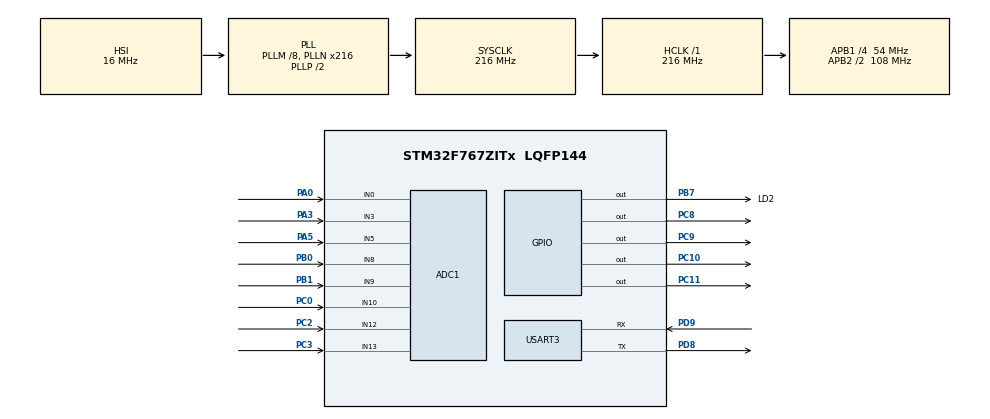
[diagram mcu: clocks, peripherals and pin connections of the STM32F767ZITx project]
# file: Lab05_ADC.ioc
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ADC1.Channel-0\#ChannelRegularConversion=ADC_CHANNEL_0
ADC1.Channel-1\#ChannelRegularConversion=ADC_CHANNEL_8
ADC1.Channel-2\#ChannelRegularConversion=ADC_CHANNEL_10
ADC1.Channel-3\#ChannelRegularConversion=ADC_CHANNEL_13
ADC1.Channel-4\#ChannelRegularConversion=ADC_CHANNEL_3
ADC1.Channel-5\#ChannelRegularConversion=ADC_CHANNEL_5
ADC1.Channel-6\#ChannelRegularConversion=ADC_CHANNEL_9
ADC1.Channel-7\#ChannelRegularConversion=ADC_CHANNEL_12
ADC1.ClockPrescaler=ADC_CLOCK_SYNC_PCLK_DIV8
ADC1.ContinuousConvMode=ENABLE
ADC1.DMAContinuousRequests=ENABLE
ADC1.InjNumberOfConversion=0
ADC1.NbrOfConversion=8
ADC1.NbrOfConversionFlag=1
ADC1.Rank-0\#ChannelRegularConversion=1
ADC1.Rank-1\#ChannelRegularConversion=2
ADC1.Rank-2\#ChannelRegularConversion=3
ADC1.Rank-3\#ChannelRegularConversion=4
ADC1.Rank-4\#ChannelRegularConversion=5
ADC1.Rank-5\#ChannelRegularConversion=6
ADC1.Rank-6\#ChannelRegularConversion=7
ADC1.Rank-7\#ChannelRegularConversion=8
ADC1.SamplingTime-0\#ChannelRegularConversion=ADC_SAMPLETIME_480CYCLES
ADC1.SamplingTime-1\#ChannelRegularConversion=ADC_SAMPLETIME_480CYCLES
ADC1.SamplingTime-2\#ChannelRegularConversion=ADC_SAMPLETIME_480CYCLES
ADC1.SamplingTime-3\#ChannelRegularConversion=ADC_SAMPLETIME_480CYCLES
ADC1.SamplingTime-4\#ChannelRegularConversion=ADC_SAMPLETIME_480CYCLES
ADC1.SamplingTime-5\#ChannelRegularConversion=ADC_SAMPLETIME_480CYCLES
ADC1.SamplingTime-6\#ChannelRegularConversion=ADC_SAMPLETIME_480CYCLES
ADC1.SamplingTime-7\#ChannelRegularConversion=ADC_SAMPLETIME_480CYCLES
ADC1.ScanConvMode=ADC_SCAN_ENABLE
ADC1.master=1
Dma.ADC1.0.Direction=DMA_PERIPH_TO_MEMORY
Dma.ADC1.0.FIFOMode=DMA_FIFOMODE_DISABLE
Dma.ADC1.0.Instance=DMA2_Stream0
Dma.ADC1.0.MemDataAlignment=DMA_MDATAALIGN_WORD
Dma.ADC1.0.MemInc=DMA_MINC_ENABLE
Dma.ADC1.0.Mode=DMA_CIRCULAR
Dma.ADC1.0.PeriphDataAlignment=DMA_PDATAALIGN_WORD
Dma.ADC1.0.PeriphInc=DMA_PINC_DISABLE
Dma.ADC1.0.Priority=DMA_PRIORITY_LOW
Dma.Request0=ADC1
Mcu.Family=STM32F7
Mcu.Name=STM32F767ZITx
Mcu.Package=LQFP144
NVIC.DMA2_Stream0_IRQn=true\:2\:0\:true\:false\:true\:false\:true
NVIC.PriorityGroup=NVIC_PRIORITYGROUP_2
PA0/WKUP.Signal=ADCx_IN0
PA3.Signal=ADCx_IN3
PA5.Signal=ADCx_IN5
PB0.Signal=ADCx_IN8
PB1.Signal=ADCx_IN9
PB7.GPIO_Label=LD2
PB7.Signal=GPIO_Output
PC0.Signal=ADCx_IN10
PC10.GPIO_ModeDefaultOutputPP=GPIO_MODE_OUTPUT_OD
PC10.PinState=GPIO_PIN_SET
PC10.Signal=GPIO_Output
PC11.GPIO_ModeDefaultOutputPP=GPIO_MODE_OUTPUT_OD
PC11.PinState=GPIO_PIN_SET
PC11.Signal=GPIO_Output
PC2.Signal=ADCx_IN12
PC3.Signal=ADCx_IN13
PC8.GPIO_ModeDefaultOutputPP=GPIO_MODE_OUTPUT_OD
PC8.PinState=GPIO_PIN_SET
PC8.Signal=GPIO_Output
PC9.GPIO_ModeDefaultOutputPP=GPIO_MODE_OUTPUT_OD
PC9.PinState=GPIO_PIN_SET
PC9.Signal=GPIO_Output
PD8.Mode=Asynchronous
PD8.Signal=USART3_TX
PD9.Mode=Asynchronous
PD9.Signal=USART3_RX
ProjectManager.HeapSize=0x200
ProjectManager.StackSize=0x400
ProjectManager.TargetToolchain=STM32CubeIDE
RCC.AHBFreq_Value=216000000
RCC.APB1CLKDivider=RCC_HCLK_DIV4
RCC.APB1Freq_Value=54000000
RCC.APB1TimFreq_Value=108000000
RCC.APB2CLKDivider=RCC_HCLK_DIV2
RCC.APB2Freq_Value=108000000
RCC.APB2TimFreq_Value=216000000
RCC.CortexFreq_Value=216000000
RCC.HCLKFreq_Value=216000000
RCC.HSE_VALUE=25000000
RCC.HSI_VALUE=16000000
RCC.LSE_VALUE=32768
RCC.PLLM=8
RCC.PLLN=216
RCC.SYSCLKFreq_VALUE=216000000
RCC.SYSCLKSource=RCC_SYSCLKSOURCE_PLLCLK
RCC.USBFreq_Value=216000000
RCC.VCOOutputFreq_Value=432000000
SH.ADCx_IN0.0=ADC1_IN0,IN0
SH.ADCx_IN10.0=ADC1_IN10,IN10
SH.ADCx_IN12.0=ADC1_IN12,IN12
SH.ADCx_IN13.0=ADC1_IN13,IN13
SH.ADCx_IN3.0=ADC1_IN3,IN3
SH.ADCx_IN5.0=ADC1_IN5,IN5
SH.ADCx_IN8.0=ADC1_IN8,IN8
SH.ADCx_IN9.0=ADC1_IN9,IN9
USART3.VirtualMode-Asynchronous=VM_ASYNC
board=custom

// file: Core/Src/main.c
/* USER CODE BEGIN Header */
/**
  ******************************************************************************
  * @file           : main.c
  * @brief          : Main program body
  ******************************************************************************
  * @attention
  *
  * <h2><center>&copy; Copyright (c) 2020 STMicroelectronics.
  * All rights reserved.</center></h2>
  *
  * This software component is licensed by ST under BSD 3-Clause license,
  * the "License"; You may not use this file except in compliance with the
  * License. You may obtain a copy of the License at:
  *                        opensource.org/licenses/BSD-3-Clause
  *
  ******************************************************************************
  */
/* USER CODE END Header */
#include "main.h"
#include "adc.h"
#include "dma.h"
#include "usart.h"
#include "gpio.h"

void SystemClock_Config(void);
/* USER CODE BEGIN PFP */
void displayHEX(uint32_t num) {
	char tmp[15];
	sprintf(tmp, "0x%08X", num);
	HAL_UART_Transmit(&huart3, (unsigned char*) tmp, 10, 100);
}
/* USER CODE END PFP */

/* USER CODE BEGIN 0 */
void HAL_ADC_ConvCpltCallback(ADC_HandleTypeDef* hadc)
{
  HAL_GPIO_WritePin(LD2_GPIO_Port, LD2_Pin, GPIO_PIN_RESET);
}

void HAL_ADC_ConvHalfCpltCallback(ADC_HandleTypeDef* hadc)
{
  HAL_GPIO_WritePin(LD2_GPIO_Port, LD2_Pin, GPIO_PIN_SET);
}

volatile uint32_t adc_val[8000];
/* USER CODE END 0 */

int main(void)
{

  /* MCU Configuration--------------------------------------------------------*/

  /* Reset of all peripherals, Initializes the Flash interface and the Systick. */
  HAL_Init();

  /* Configure the system clock */
  SystemClock_Config();

  /* Initialize all configured peripherals */
  MX_GPIO_Init();
  MX_DMA_Init();
  MX_ADC1_Init();
  MX_USART3_UART_Init();
  /* USER CODE BEGIN 2 */
  HAL_ADC_Start_DMA(&hadc1, (uint32_t *)adc_val, 8000);
  /* USER CODE END 2 */

  /* Infinite loop */
  /* USER CODE BEGIN WHILE */
  while (1)
  {
	  adc_val[1]=adc_val[2];
	  for (int i = 0; i < 8; i++) {
	  			char tmp[15];
	  			int len = sprintf(tmp, "%.2f  ", (((double)adc_val[i])/4095.0)*3.3);
	  			HAL_UART_Transmit(&huart3, (unsigned char*) tmp, len, 100);
	  		}
	  HAL_Delay(300);
	  HAL_UART_Transmit(&huart3, (unsigned char*)"\r\n", 2, 100);
    /* USER CODE END WHILE */

  }
}

void SystemClock_Config(void)
{
  RCC_OscInitTypeDef RCC_OscInitStruct = {0};
  RCC_ClkInitTypeDef RCC_ClkInitStruct = {0};
  RCC_PeriphCLKInitTypeDef PeriphClkInitStruct = {0};

  /** Configure the main internal regulator output voltage
  */
  __HAL_RCC_PWR_CLK_ENABLE();
  __HAL_PWR_VOLTAGESCALING_CONFIG(PWR_REGULATOR_VOLTAGE_SCALE1);
  /** Initializes the RCC Oscillators according to the specified parameters
  * in the RCC_OscInitTypeDef structure.
  */
  RCC_OscInitStruct.OscillatorType = RCC_OSCILLATORTYPE_HSI;
  RCC_OscInitStruct.HSIState = RCC_HSI_ON;
  RCC_OscInitStruct.HSICalibrationValue = RCC_HSICALIBRATION_DEFAULT;
  RCC_OscInitStruct.PLL.PLLState = RCC_PLL_ON;
  RCC_OscInitStruct.PLL.PLLSource = RCC_PLLSOURCE_HSI;
  RCC_OscInitStruct.PLL.PLLM = 8;
  RCC_OscInitStruct.PLL.PLLN = 216;
  RCC_OscInitStruct.PLL.PLLP = RCC_PLLP_DIV2;
  RCC_OscInitStruct.PLL.PLLQ = 2;
  if (HAL_RCC_OscConfig(&RCC_OscInitStruct) != HAL_OK)
  {
    Error_Handler();
  }
  /** Activate the Over-Drive mode
  */
  if (HAL_PWREx_EnableOverDrive() != HAL_OK)
  {
    Error_Handler();
  }
  /** Initializes the CPU, AHB and APB buses clocks
  */
  RCC_ClkInitStruct.ClockType = RCC_CLOCKTYPE_HCLK|RCC_CLOCKTYPE_SYSCLK
                              |RCC_CLOCKTYPE_PCLK1|RCC_CLOCKTYPE_PCLK2;
  RCC_ClkInitStruct.SYSCLKSource = RCC_SYSCLKSOURCE_PLLCLK;
  RCC_ClkInitStruct.AHBCLKDivider = RCC_SYSCLK_DIV1;
  RCC_ClkInitStruct.APB1CLKDivider = RCC_HCLK_DIV4;
  RCC_ClkInitStruct.APB2CLKDivider = RCC_HCLK_DIV2;

  if (HAL_RCC_ClockConfig(&RCC_ClkInitStruct, FLASH_LATENCY_7) != HAL_OK)
  {
    Error_Handler();
  }
  PeriphClkInitStruct.PeriphClockSelection = RCC_PERIPHCLK_USART3;
  PeriphClkInitStruct.Usart3ClockSelection = RCC_USART3CLKSOURCE_PCLK1;
  if (HAL_RCCEx_PeriphCLKConfig(&PeriphClkInitStruct) != HAL_OK)
  {
    Error_Handler();
  }
}

void Error_Handler(void)
{
}

/************************ (C) COPYRIGHT STMicroelectronics *****END OF FILE****/
